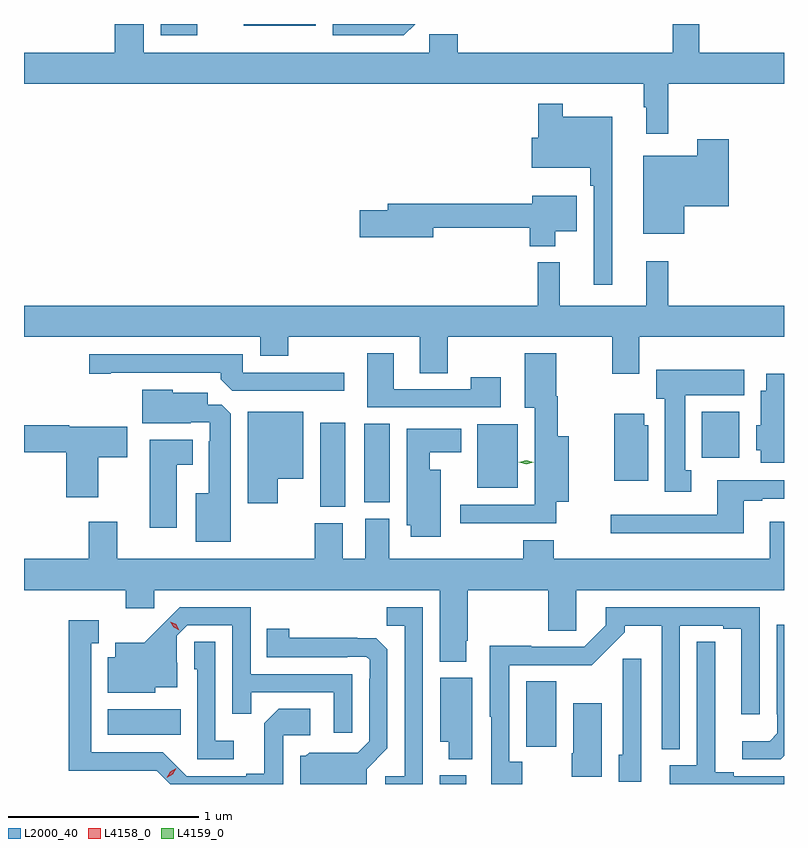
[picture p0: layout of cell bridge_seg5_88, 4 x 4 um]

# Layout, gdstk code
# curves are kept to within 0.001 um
import gdstk
lib = gdstk.Library(unit=1e-6, precision=1e-09)
def R(c, l, rs):  # rectangles x0, y0, x1, y1
    for r in rs: c.add(gdstk.rectangle(r[:2], r[2:], *l))
def P(c, l, *ps):  # polygons
    for p in ps: c.add(gdstk.Polygon(p, *l))
L2000_40 = (2000, 40)
L4158_0 = (4158, 0)
L4159_0 = (4159, 0)

bridge_seg5_88 = lib.new_cell('bridge_seg5_88')
R(bridge_seg5_88, L2000_40, [(122.246,886.375,122.386,886.42), (122.702,886.572,122.86,886.916), (120.5,886.634,120.884,886.768), (121.616,887.833,121.75,888.277), (121.85,887.857,121.984,888.272), (122.444,887.933,122.656,888.268), (123.626,888.092,123.823,888.334), (120.777,890.316,120.969,890.375), (121.214,890.366,121.594,890.375)])
P(bridge_seg5_88, L2000_40, [(122.116,890.375),(121.683,890.375),(121.683,890.316),(122.056,890.316)],
  [(123.449,890.06),(124.058,890.06),(124.058,890.224),(123.612,890.224),(123.612,890.375),(123.473,890.375),(123.473,890.224),(122.342,890.224),(122.342,890.32),(122.19,890.32),(122.19,890.224),(120.688,890.224),(120.688,890.375),(120.536,890.375),(120.536,890.224),(120.058,890.224),(120.058,890.06),(123.321,890.06),(123.321,889.937),(123.332,889.937),(123.332,889.797),(123.449,889.797)],
  [(123.154,889.888),(122.893,889.888),(122.893,889.954),(122.764,889.954),(122.764,889.777),(122.73,889.777),(122.73,889.619),(123.037,889.619),(123.037,889.523),(123.057,889.523),(123.057,889.002),(123.154,889.002)],
  [(123.532,889.415),(123.766,889.415),(123.766,889.768),(123.601,889.768),(123.601,889.681),(123.317,889.681),(123.317,889.271),(123.532,889.271)],
  [(122.854,889.283),(122.968,889.283),(122.968,889.471),(122.732,889.471),(122.732,889.43),(121.973,889.43),(121.973,889.394),(121.824,889.394),(121.824,889.252),(122.212,889.252),(122.212,889.302),(122.72,889.302),(122.72,889.205),(122.854,889.205)],
  [(123.295,888.728),(124.058,888.728),(124.058,888.892),(123.449,888.892),(123.449,889.126),(123.332,889.126),(123.332,888.892),(122.879,888.892),(122.879,889.12),(122.761,889.12),(122.761,888.892),(120.058,888.892),(120.058,888.728),(121.301,888.728),(121.301,888.629),(121.449,888.629),(121.449,888.728),(122.141,888.728),(122.141,888.538),(122.289,888.538),(122.289,888.728),(123.155,888.728),(123.155,888.534),(123.295,888.534)],
  [(122.566,888.517),(122.41,888.517),(122.41,888.453),(122.005,888.453),(122.005,888.643),(121.865,888.643),(121.865,888.357),(122.566,888.357)],
  [(122.86,887.861),(122.926,887.861),(122.926,888.205),(122.868,888.205),(122.868,888.416),(122.86,888.416),(122.86,888.643),(122.693,888.643),(122.693,888.356),(122.747,888.356),(122.747,887.844),(122.355,887.844),(122.355,887.747),(122.86,887.747)],
  [(121.744,888.54),(121.209,888.54),(121.209,888.636),(120.402,888.636),(120.402,888.535),(120.514,888.535),(120.514,888.54),(121.094,888.54),(121.094,888.506),(121.155,888.444),(121.744,888.444)],
  [(123.571,888.026),(123.538,888.026),(123.538,888.422),(123.85,888.422),(123.85,888.556),(123.386,888.556),(123.386,888.402),(123.431,888.402),(123.431,887.913),(123.571,887.913)],
  [(124.058,888.534),(123.965,888.534),(123.965,888.445),(123.935,888.445),(123.935,888.264),(123.911,888.264),(123.911,888.132),(123.935,888.132),(123.935,888.065),(124.058,888.065)],
  [(121.147,888.323),(121.098,888.372),(121.024,888.372),(121.024,888.433),(120.84,888.433),(120.84,888.451),(120.68,888.451),(120.68,888.275),(120.935,888.275),(120.935,888.279),(121.035,888.279),(121.035,888.179),(121.031,888.179),(121.031,887.905),(120.962,887.905),(120.962,887.651),(121.147,887.651)],
  [(121.393,887.981),(121.528,887.981),(121.528,888.334),(121.235,888.334),(121.235,887.853),(121.393,887.853)],
  [(123.343,888.264),(123.322,888.264),(123.322,888.325),(123.164,888.325),(123.164,887.972),(123.343,887.972)],
  [(120.448,888.094),(120.601,888.094),(120.601,888.256),(120.297,888.256),(120.297,888.264),(120.058,888.264),(120.058,888.122),(120.281,888.122),(120.281,887.883),(120.448,887.883)],
  [(122.251,888.028),(122.194,888.028),(122.194,888.122),(122.359,888.122),(122.359,888.244),(122.072,888.244),(122.072,887.736),(122.093,887.736),(122.093,887.676),(122.251,887.676)],
  [(120.862,888.056),(120.946,888.056),(120.946,888.187),(120.719,888.187),(120.719,887.724),(120.862,887.724)],
  [(123.847,887.865),(123.943,887.865),(123.943,887.877),(124.058,887.877),(124.058,887.973),(123.707,887.973),(123.707,887.793),(123.147,887.793),(123.147,887.696),(123.847,887.696)],
  [(122.386,887.128),(122.394,887.128),(122.394,887.396),(122.818,887.396),(122.818,887.182),(122.964,887.182),(122.964,887.396),(124.058,887.396),(124.058,887.755),(123.983,887.755),(123.983,887.56),(122.846,887.56),(122.846,887.659),(122.686,887.659),(122.686,887.56),(121.981,887.56),(121.981,887.772),(121.853,887.772),(121.853,887.56),(121.735,887.56),(121.735,887.748),(121.588,887.748),(121.588,887.56),(120.55,887.56),(120.55,887.755),(120.398,887.755),(120.398,887.56),(120.058,887.56),(120.058,887.396),(120.593,887.396),(120.593,887.301),(120.744,887.301),(120.744,887.396),(122.246,887.396),(122.246,887.018),(122.386,887.018)],
  [(122.68,886.491),(122.613,886.491),(122.613,887.001),(123.046,887),(123.22,887.173),(123.22,887.207),(123.414,887.207),(123.414,886.559),(123.51,886.559),(123.51,887.208),(123.737,887.208),(123.737,887.193),(123.833,887.193),(123.833,886.743),(123.93,886.743),(123.93,887.304),(123.12,887.304),(123.12,887.211),(123.006,887.097),(122.729,887.097),(122.729,887.102),(122.51,887.102),(122.51,886.728),(122.517,886.728),(122.517,886.375),(122.68,886.375)],
  [(122.157,887.304),(121.966,887.304),(121.966,887.209),(122.061,887.209),(122.061,886.416),(121.959,886.416),(121.959,886.375),(122.157,886.375)],
  [(121.785,886.953),(121.251,886.953),(121.251,887.304),(120.878,887.304),(120.691,887.119),(120.539,887.119),(120.539,887.041),(120.5,887.041),(120.5,886.856),(120.75,886.856),(120.75,886.883),(120.865,886.883),(120.865,887.012),(120.861,887.012),(120.861,887.154),(120.918,887.211),(121.155,887.211),(121.155,886.744),(121.253,886.744),(121.253,886.857),(121.689,886.857),(121.689,886.644),(121.785,886.644)],
  [(121.422,886.632),(121.564,886.632),(121.564,886.772),(121.399,886.772),(121.323,886.696),(121.323,886.429),(121.229,886.429),(121.229,886.416),(120.915,886.416),(120.789,886.542),(120.412,886.542),(120.412,887.115),(120.451,887.115),(120.451,887.236),(120.294,887.236),(120.294,886.445),(120.756,886.446),(120.827,886.375),(121.422,886.375)],
  [(124.058,886.523),(124.058,887.212),(124.02,887.212),(124.02,886.741),(124.023,886.741),(124.023,886.641),(123.983,886.601),(123.837,886.601),(123.837,886.506),(124.041,886.506)],
  [(121.861,886.452),(121.971,886.562),(121.971,887.084),(121.912,887.143),(121.455,887.144),(121.455,887.191),(121.336,887.191),(121.336,887.043),(121.76,887.043),(121.76,887.046),(121.86,887.046),(121.878,887.028),(121.878,886.928),(121.875,886.928),(121.875,886.599),(121.815,886.539),(121.558,886.54),(121.542,886.524),(121.511,886.524),(121.511,886.375),(121.861,886.375)],
  [(121.162,886.603),(121.065,886.603),(121.065,887.123),(120.954,887.123),(120.954,886.98),(120.969,886.98),(120.969,886.506),(121.162,886.506)],
  [(124.058,886.416),(123.793,886.416),(123.793,886.436),(123.697,886.436),(123.697,887.015),(123.696,887.015),(123.696,887.123),(123.6,887.123),(123.6,886.474),(123.456,886.474),(123.456,886.375),(124.058,886.375)],
  [(123.306,887.035),(123.21,887.035),(123.21,886.53),(123.188,886.53),(123.188,886.386),(123.306,886.386)],
  [(122.416,886.933),(122.249,886.933),(122.249,886.598),(122.294,886.598),(122.294,886.505),(122.416,886.505)],
  [(123.1,886.801),(122.948,886.801),(122.948,886.536),(122.942,886.536),(122.942,886.412),(123.1,886.412)])
P(bridge_seg5_88, L4158_0, [(120.876,887.185),(120.845,887.2),(120.827,887.23),(120.827,887.23),(120.828,887.23),(120.858,887.215),(120.876,887.185),(120.876,887.185)],
  [(120.809,886.407),(120.809,886.408),(120.827,886.44),(120.858,886.459),(120.859,886.459),(120.859,886.459),(120.841,886.426),(120.809,886.407)])
P(bridge_seg5_88, L4159_0, [(122.701,888.058),(122.661,888.068),(122.661,888.068),(122.661,888.068),(122.701,888.078),(122.742,888.068),(122.742,888.068),(122.742,888.068)])

lib.write_gds('bridge_seg5_88.gds')
